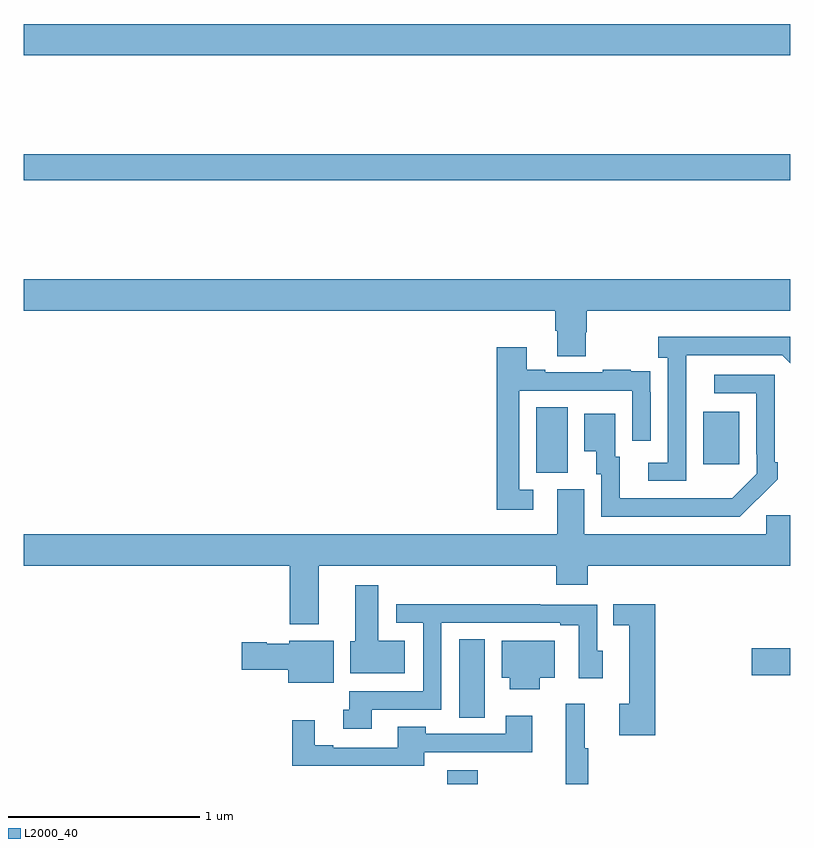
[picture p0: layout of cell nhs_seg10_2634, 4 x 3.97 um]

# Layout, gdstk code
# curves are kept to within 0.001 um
import gdstk
lib = gdstk.Library(unit=1e-6, precision=1e-09)
def R(c, l, rs):  # rectangles x0, y0, x1, y1
    for r in rs: c.add(gdstk.rectangle(r[:2], r[2:], *l))
def P(c, l, *ps):  # polygons
    for p in ps: c.add(gdstk.Polygon(p, *l))
L2000_40 = (2000, 40)

nhs_seg10_2634 = lib.new_cell('nhs_seg10_2634')
R(nhs_seg10_2634, L2000_40, [(255.209,1308.5,255.369,1308.571), (255.272,1308.847,255.406,1309.256), (256.8,1309.067,257,1309.209), (255.674,1310.125,255.838,1310.468), (256.547,1310.169,256.735,1310.443), (253,1311.652,257,1311.788), (253,1312.304,257,1312.468)])
P(nhs_seg10_2634, L2000_40, [(255.933,1310.859),(255.938,1310.859),(255.938,1310.972),(257,1310.972),(257,1311.136),(253,1311.136),(253,1310.972),(255.773,1310.972),(255.773,1310.866),(255.785,1310.866),(255.785,1310.734),(255.933,1310.734)],
  [(256.458,1310.539),(256.459,1310.739),(256.959,1310.739),(257,1310.698),(257,1310.836),(256.311,1310.836),(256.311,1310.726),(256.362,1310.726),(256.362,1310.178),(256.26,1310.178),(256.26,1310.082),(256.458,1310.082)],
  [(255.658,1310.037),(255.585,1310.037),(255.585,1310.553),(256.176,1310.553),(256.176,1310.292),(256.272,1310.292),(256.272,1310.546),(256.271,1310.546),(256.271,1310.655),(256.169,1310.655),(256.169,1310.662),(256.021,1310.662),(256.021,1310.649),(255.721,1310.649),(255.721,1310.662),(255.625,1310.662),(255.625,1310.779),(255.469,1310.779),(255.469,1309.932),(255.658,1309.932)],
  [(256.829,1309.987),(256.83,1309.986),(256.935,1310.091),(256.935,1310.179),(256.92,1310.179),(256.92,1310.637),(256.605,1310.637),(256.605,1310.541),(256.824,1310.541),(256.824,1310.221),(256.827,1310.221),(256.827,1310.121),(256.699,1309.993),(256.111,1309.992),(256.111,1310.208),(256.087,1310.208),(256.087,1310.434),(255.926,1310.434),(255.926,1310.237),(255.989,1310.237),(255.989,1310.118),(256.014,1310.118),(256.014,1309.896),(256.738,1309.896)],
  [(254.539,1309.64),(255.779,1309.64),(255.779,1309.541),(255.944,1309.541),(255.944,1309.64),(257,1309.64),(257,1309.902),(256.875,1309.902),(256.875,1309.804),(255.925,1309.804),(255.925,1310.04),(255.785,1310.04),(255.785,1309.804),(253,1309.804),(253,1309.64),(254.387,1309.64),(254.387,1309.335),(254.539,1309.335)],
  [(254.989,1309.249),(254.851,1309.249),(254.851,1309.537),(254.729,1309.537),(254.729,1309.245),(254.705,1309.245),(254.705,1309.079),(254.989,1309.079)],
  [(256.295,1309.439),(256.078,1309.439),(256.078,1309.329),(256.16,1309.329),(256.16,1308.918),(256.109,1308.918),(256.109,1308.755),(256.295,1308.755)],
  [(254.815,1308.888),(255.18,1308.888),(255.18,1309.341),(255.8,1309.341),(255.8,1309.329),(255.897,1309.329),(255.897,1309.053),(256.021,1309.053),(256.021,1309.197),(255.993,1309.197),(255.993,1309.437),(255.695,1309.437),(255.695,1309.439),(254.943,1309.439),(254.943,1309.341),(255.084,1309.341),(255.084,1308.984),(254.698,1308.984),(254.698,1308.887),(254.667,1308.887),(254.667,1308.789),(254.815,1308.789)],
  [(255.694,1309.055),(255.772,1309.055),(255.772,1309.249),(255.494,1309.249),(255.494,1309.055),(255.536,1309.055),(255.536,1308.995),(255.694,1308.995)],
  [(254.617,1309.249),(254.385,1309.249),(254.385,1309.231),(254.267,1309.231),(254.267,1309.239),(254.136,1309.239),(254.136,1309.097),(254.381,1309.097),(254.381,1309.028),(254.617,1309.028)],
  [(255.947,1308.687),(255.929,1308.687),(255.929,1308.919),(255.83,1308.919),(255.83,1308.5),(255.947,1308.5)],
  [(255.091,1308.666),(255.655,1308.666),(255.655,1308.856),(255.515,1308.856),(255.515,1308.762),(255.099,1308.762),(255.099,1308.799),(254.951,1308.799),(254.951,1308.69),(254.614,1308.69),(254.614,1308.703),(254.518,1308.703),(254.518,1308.832),(254.401,1308.832),(254.401,1308.594),(255.091,1308.594)])

lib.write_gds('nhs_seg10_2634.gds')
